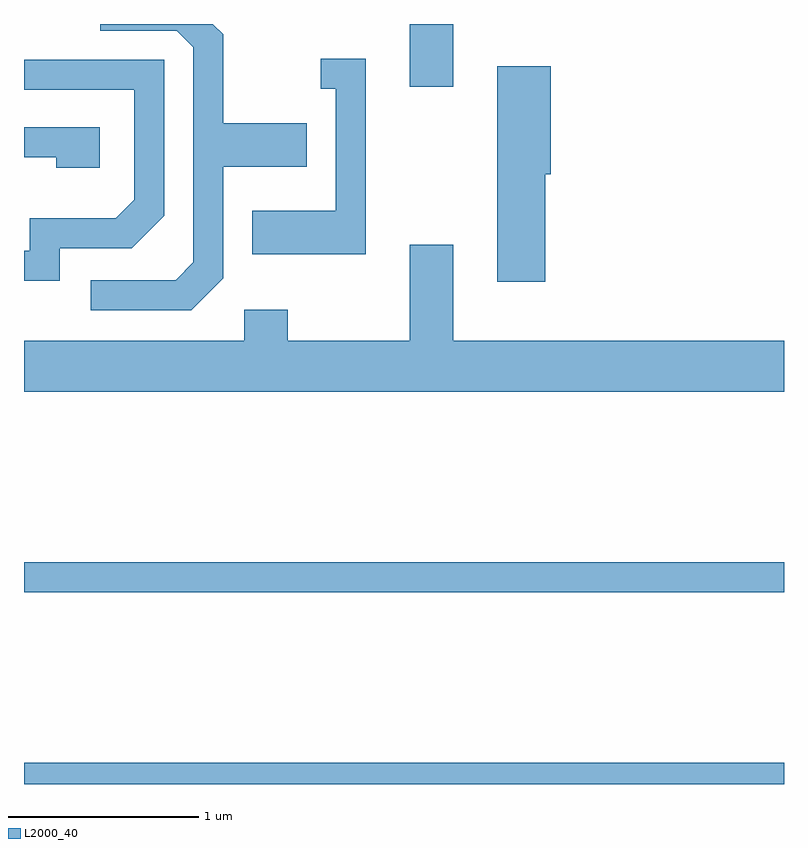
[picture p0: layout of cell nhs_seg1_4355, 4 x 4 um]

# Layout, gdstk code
import gdstk
lib = gdstk.Library(unit=1e-6, precision=1e-09)
def R(c, l, rs):  # rectangles x0, y0, x1, y1
    for r in rs: c.add(gdstk.rectangle(r[:2], r[2:], *l))
def P(c, l, *ps):  # polygons
    for p in ps: c.add(gdstk.Polygon(p, *l))
L2000_40 = (2000, 40)

nhs_seg1_4355 = lib.new_cell('nhs_seg1_4355')
R(nhs_seg1_4355, L2000_40, [(315.611,919.712,319.611,919.824), (315.611,920.721,319.611,920.879), (317.641,923.381,317.869,923.712)])
P(nhs_seg1_4355, L2000_40, [(316.659,922.374),(316.659,922.961),(317.099,922.961),(317.099,923.189),(316.659,923.189),(316.659,923.657),(316.604,923.712),(316.013,923.712),(316.013,923.676),(316.414,923.676),(316.501,923.589),(316.501,922.457),(316.409,922.364),(315.963,922.364),(315.963,922.206),(316.492,922.206)],
  [(317.409,923.529),(317.173,923.529),(317.173,923.371),(317.251,923.371),(317.251,922.729),(316.811,922.729),(316.811,922.501),(317.409,922.501)],
  [(315.799,922.531),(316.177,922.531),(316.349,922.704),(316.349,923.524),(315.611,923.524),(315.611,923.366),(316.191,923.366),(316.191,922.787),(316.094,922.689),(315.641,922.689),(315.641,922.519),(315.611,922.519),(315.611,922.361),(315.799,922.361)],
  [(318.354,922.921),(318.384,922.921),(318.384,923.489),(318.101,923.489),(318.101,922.356),(318.354,922.356)],
  [(316.009,923.169),(315.611,923.169),(315.611,923.011),(315.781,923.011),(315.781,922.956),(316.009,922.956)],
  [(319.611,922.044),(317.869,922.044),(317.869,922.549),(317.641,922.549),(317.641,922.044),(316.999,922.044),(316.999,922.209),(316.771,922.209),(316.771,922.044),(315.611,922.044),(315.611,921.776),(319.611,921.776)])

lib.write_gds('nhs_seg1_4355.gds')
